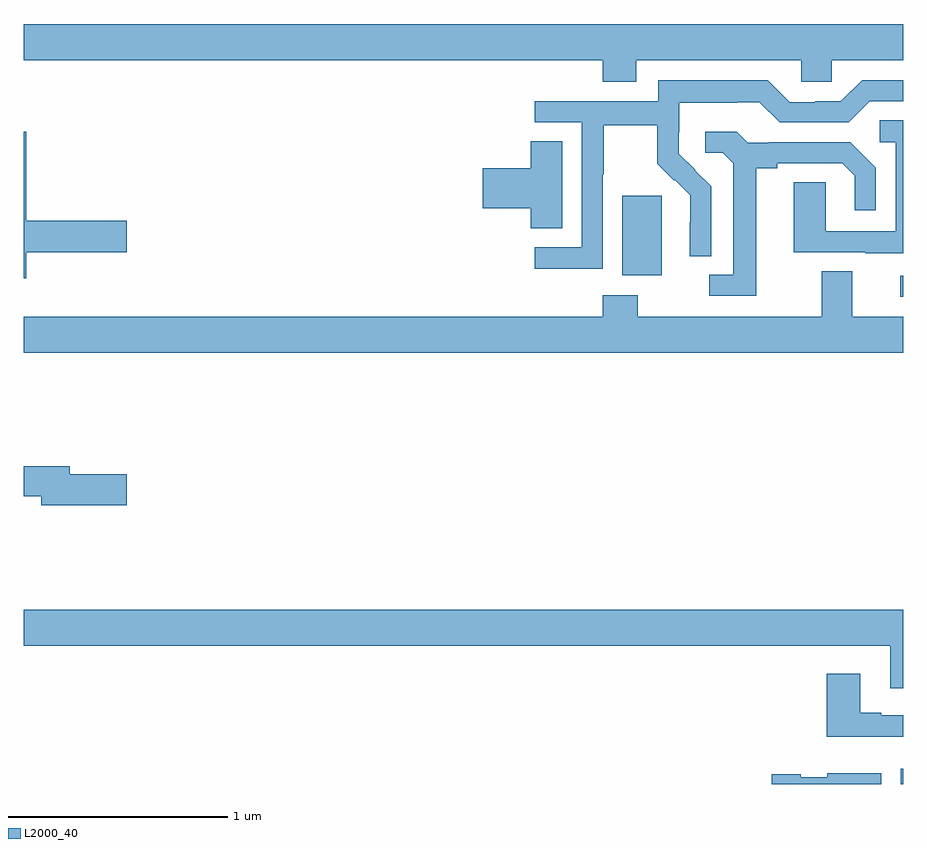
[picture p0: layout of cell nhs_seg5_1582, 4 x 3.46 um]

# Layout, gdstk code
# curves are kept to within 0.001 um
import gdstk
lib = gdstk.Library(unit=1e-6, precision=1e-09)
def R(c, l, rs):  # rectangles x0, y0, x1, y1
    for r in rs: c.add(gdstk.rectangle(r[:2], r[2:], *l))
def P(c, l, *ps):  # polygons
    for p in ps: c.add(gdstk.Polygon(p, *l))
L2000_40 = (2000, 40)

nhs_seg5_1582 = lib.new_cell('nhs_seg5_1582')
R(nhs_seg5_1582, L2000_40, [(210.989,854.799,211,854.869), (210.987,857.016,211,857.112), (209.723,857.114,209.902,857.475)])
P(nhs_seg5_1582, L2000_40, [(209.785,858.092),(210.537,858.092),(210.537,857.994),(210.675,857.994),(210.675,858.092),(211,858.092),(211,858.256),(207,858.256),(207,858.092),(209.633,858.092),(209.633,857.993),(209.785,857.993)],
  [(209.634,857.572),(209.637,857.572),(209.637,857.796),(209.881,857.796),(209.881,857.621),(209.958,857.544),(209.961,857.547),(210.032,857.477),(210.032,857.354),(210.03,857.354),(210.03,857.2),(210.126,857.2),(210.126,857.518),(209.98,857.666),(209.98,857.763),(209.982,857.763),(209.982,857.897),(210.245,857.897),(210.245,857.901),(210.345,857.901),(210.438,857.808),(210.753,857.808),(210.849,857.904),(211,857.904),(211,858),(210.813,858),(210.717,857.904),(210.599,857.904),(210.599,857.901),(210.483,857.901),(210.383,858.001),(209.886,858.001),(209.886,857.904),(209.325,857.904),(209.325,857.808),(209.538,857.808),(209.538,857.241),(209.325,857.241),(209.325,857.143),(209.634,857.143)],
  [(211,857.819),(210.894,857.819),(210.894,857.718),(210.966,857.718),(210.966,857.313),(210.648,857.313),(210.648,857.537),(210.503,857.537),(210.503,857.217),(210.827,857.217),(210.827,857.213),(211,857.213)],
  [(207.011,857.218),(207.469,857.218),(207.469,857.36),(207.011,857.36),(207.011,857.767),(207,857.767),(207,857.1),(207.011,857.1)],
  [(210.331,857.6),(210.427,857.6),(210.427,857.622),(210.722,857.622),(210.779,857.565),(210.779,857.409),(210.876,857.409),(210.876,857.602),(210.76,857.718),(210.388,857.718),(210.388,857.715),(210.294,857.715),(210.242,857.767),(210.099,857.767),(210.099,857.67),(210.18,857.67),(210.227,857.623),(210.227,857.115),(210.117,857.115),(210.117,857.019),(210.331,857.019)],
  [(209.449,857.723),(209.306,857.723),(209.306,857.6),(209.088,857.6),(209.088,857.417),(209.306,857.417),(209.306,857.326),(209.449,857.326)],
  [(211,856.924),(210.769,856.924),(210.769,857.132),(210.629,857.132),(210.629,856.924),(209.793,856.924),(209.793,857.023),(209.633,857.023),(209.633,856.924),(207,856.924),(207,856.76),(211,856.76)],
  [(207.469,856.208),(207.208,856.208),(207.208,856.244),(207,856.244),(207,856.108),(207.08,856.108),(207.08,856.066),(207.469,856.066)],
  [(211,855.592),(207,855.592),(207,855.428),(210.941,855.428),(210.941,855.234),(211,855.234)],
  [(211,855.111),(210.901,855.111),(210.901,855.124),(210.805,855.124),(210.805,855.301),(210.653,855.301),(210.653,855.014),(211,855.014)],
  [(210.901,854.848),(210.654,854.848),(210.654,854.83),(210.534,854.83),(210.534,854.843),(210.402,854.843),(210.402,854.799),(210.901,854.799)])

lib.write_gds('nhs_seg5_1582.gds')
